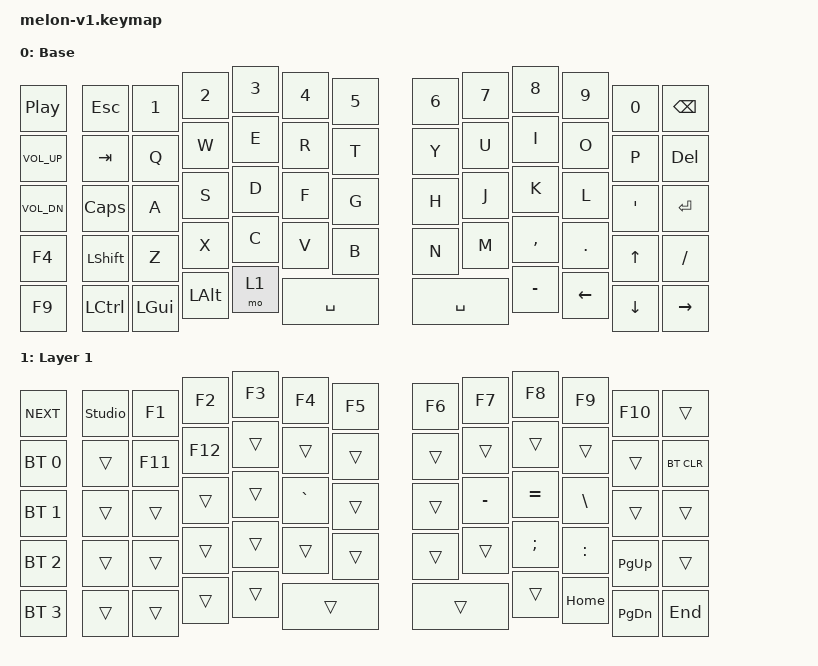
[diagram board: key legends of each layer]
#include <behaviors.dtsi>
#include <dt-bindings/zmk/keys.h>
#include <dt-bindings/zmk/bt.h>

/ {
    combos {
        compatible = "zmk,combos";
        combo_openBracket {
            timeout-ms = <20>;
            key-positions = <34 35>; // JK
            bindings = <&kp LPAR>;
        };
        combo_closeBracket {
            timeout-ms = <20>;
            key-positions = <35 36>; // KL
            bindings = <&kp RPAR>;
        };
        combo_openSquare {
            timeout-ms = <20>;
            key-positions = <47 48>; // M,
            bindings = <&kp LBKT>;
        };
        combo_closeSquare {
            timeout-ms = <20>;
            key-positions = <48 49>; // ,.
            bindings = <&kp RBKT>;
        };
        combo_enter {
            timeout-ms = <20>;
            key-positions = <28 29 30>; // ASD
            bindings = <&kp RET>;
        };
        combo_enter2 {
            timeout-ms = <20>;
            key-positions = <29 30 31>; // SDF
            bindings = <&kp RET>;
        };
        combo_grave {
            timeout-ms = <20>;
            key-positions = <2 3>; // 12
            bindings = <&kp GRAVE>;
        };
        combo_tilde {
            timeout-ms = <20>;
            key-positions = <3 4>; // 23
            bindings = <&kp TILDE>;
        };
        combo_equals {
            timeout-ms = <20>;
            key-positions = <9 10>; // 89
            bindings = <&kp EQUAL>;
        };
        combo_plus {
            timeout-ms = <20>;
            key-positions = <10 11>; // 90
            bindings = <&kp PLUS>;
        };
    };
};

/ {
    keymap {
        compatible = "zmk,keymap";

        default_layer { // Layer 0
            display-name = "Base";
            bindings = <
            &kp C_PP		&kp ESC		&kp N1		&kp N2		&kp N3		&kp N4		&kp N5		&kp N6		&kp N7		&kp N8		&kp N9		&kp N0		&kp BSPC
            &kp C_VOL_UP	&kp TAB		&kp Q		&kp W		&kp E		&kp R		&kp T		&kp Y		&kp U		&kp I		&kp O		&kp P		&kp DEL
            &kp C_VOL_DN	&kp CAPS	&kp A		&kp S		&kp D		&kp F		&kp G		&kp H		&kp J		&kp K		&kp L		&kp SQT		&kp RET
            &kp F4			&kp LSHFT	&kp Z		&kp X		&kp C		&kp V		&kp B		&kp N		&kp M		&kp COMMA	&kp DOT		&kp UP		&kp FSLH
            &kp F9			&kp LCTRL	&kp LGUI	&kp LALT	&mo 1					&kp SPACE	&kp SPACE				&kp MINUS	&kp LEFT	&kp DOWN	&kp RIGHT
            >;
        };
        
        layer_1 {
            display-name = "Layer 1";
            bindings = <
            &kp C_NEXT		&studio_unlock	&kp F1			&kp F2			&kp F3			&kp F4			&kp F5			&kp F6			&kp F7			&kp F8			&kp F9			&kp F10			&trans
            &bt BT_SEL 0	&trans			&kp F11			&kp F12			&trans			&trans			&trans			&trans			&trans			&trans			&trans			&trans			&bt BT_CLR
            &bt BT_SEL 1	&trans			&trans			&trans			&trans			&kp GRAVE		&trans			&trans			&kp MINUS		&kp EQUAL		&kp BSLH		&trans			&trans
            &bt BT_SEL 2	&trans			&trans			&trans			&trans			&trans			&trans			&trans			&trans			&kp SEMI		&kp COLON		&kp PG_UP		&trans
            &bt BT_SEL 3	&trans			&trans			&trans			&trans							&trans			&trans							&trans			&kp HOME		&kp PG_DN		&kp END
            >;
        };

        extra1 {
            status = "reserved";
        };

        extra2 {
            status = "reserved";
        };
    };
};
